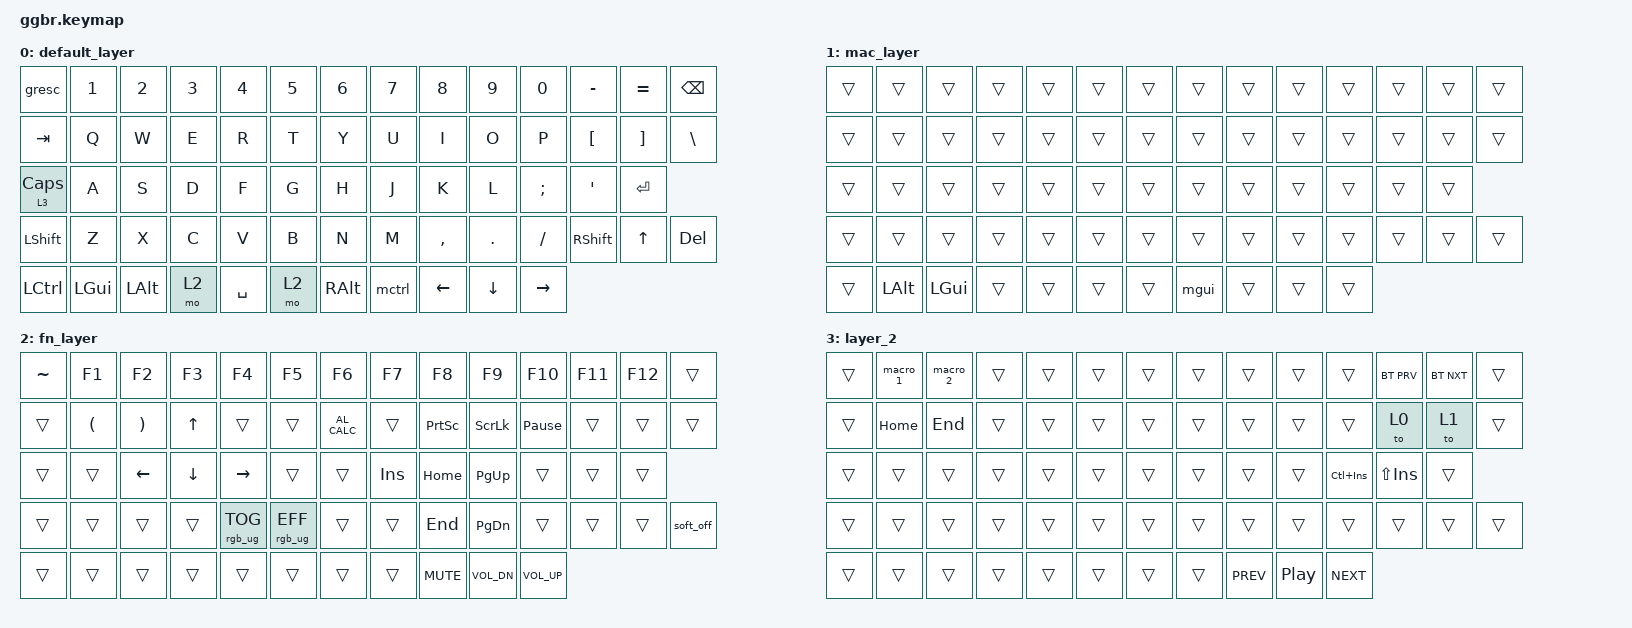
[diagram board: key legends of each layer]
/*
 * Copyright (c) 2025 Naomi
 *
 * SPDX-License-Identifier: MIT
 */

#include <behaviors.dtsi>
#include <dt-bindings/zmk/bt.h>
#include <dt-bindings/zmk/keys.h>
#include <dt-bindings/zmk/outputs.h>
#include <dt-bindings/zmk/rgb.h>

/ {
    behaviors {
        mctrl: mctrl {
            compatible = "zmk,behavior-tap-dance";
            label = "MCTRL";
            #binding-cells = <0>;
            bindings = <&kp RCTRL>, <&mo 3>;
        };

        mgui: mgui {
            compatible = "zmk,behavior-tap-dance";
            label = "MGUI";
            #binding-cells = <0>;
            bindings = <&kp RGUI>, <&mo 3>;
        };
    };

    combos {
        compatible = "zmk,combos";

        bootloader_entry {
            bindings = <&bootloader>;
            key-positions = <41 52 46>; // Press Lshift + Rshift + B to enter bootloader
        };

        reset_entry {
            bindings = <&sys_reset>;
            key-positions = <52 41 13>; // Press Lshift + Rshift + Backspace to reset the device
        };

        bt_clr_all {
            bindings = <&bt BT_CLR_ALL>;
            key-positions = <41 55 52 18>; // Press Lctrl + Lshift + Rshift + R to clear all BT profiles
        };

        output_toggle {
            bindings = <&out OUT_TOG>;
            key-positions = <52 41 21>; // Press Lshift + Rshift + U to toggle USB/BT output
        };
    };

    macros {
        macro_1: macro_1 {
            compatible = "zmk,behavior-macro";
            #binding-cells = <0>;
            bindings = <&kp N1 &kp N3 &kp N4 &kp N1 &kp N3 &kp N3 &kp N9 &kp N8 &kp N7>;
            label = "MACRO_1";
        };

        macro_2: macro_2 {
            compatible = "zmk,behavior-macro";
            #binding-cells = <0>;
            bindings = <&kp N8 &kp N0 &kp N7 &kp N0 &kp N8 &kp N2 &kp N1 &kp N9 &kp N3>;
            label = "MACRO_2";
        };
    };

    keymap {
        compatible = "zmk,keymap";

        default_layer {
            bindings = <
&gresc      &kp N1    &kp N2    &kp N3  &kp N4     &kp N5  &kp N6    &kp N7  &kp N8     &kp N9    &kp N0     &kp MINUS  &kp EQUAL  &kp BSPC
&kp TAB     &kp Q     &kp W     &kp E   &kp R      &kp T   &kp Y     &kp U   &kp I      &kp O     &kp P      &kp LBKT   &kp RBKT   &kp BSLH
&lt 3 CLCK  &kp A     &kp S     &kp D   &kp F      &kp G   &kp H     &kp J   &kp K      &kp L     &kp SEMI   &kp SQT    &kp RET
&kp LSHFT   &kp Z     &kp X     &kp C   &kp V      &kp B   &kp N     &kp M   &kp COMMA  &kp DOT   &kp FSLH   &kp RSHFT  &kp UP     &kp DEL
&kp LCTRL   &kp LGUI  &kp LALT  &mo 2   &kp SPACE  &mo 2   &kp RALT  &mctrl  &kp LEFT   &kp DOWN  &kp RIGHT
            >;
        };

        mac_layer {
            bindings = <
&trans  &trans    &trans    &trans  &trans  &trans  &trans  &trans  &trans  &trans  &trans  &trans  &trans  &trans
&trans  &trans    &trans    &trans  &trans  &trans  &trans  &trans  &trans  &trans  &trans  &trans  &trans  &trans
&trans  &trans    &trans    &trans  &trans  &trans  &trans  &trans  &trans  &trans  &trans  &trans  &trans
&trans  &trans    &trans    &trans  &trans  &trans  &trans  &trans  &trans  &trans  &trans  &trans  &trans  &trans
&trans  &kp LALT  &kp LGUI  &trans  &trans  &trans  &trans  &mgui   &trans  &trans  &trans
            >;
        };

        fn_layer {
            bindings = <
&kp TILDE  &kp F1    &kp F2    &kp F3    &kp F4           &kp F5           &kp F6         &kp F7   &kp F8      &kp F9          &kp F10          &kp F11  &kp F12  &trans
&trans     &kp LPAR  &kp RPAR  &kp UP    &trans           &trans           &kp C_AL_CALC  &trans   &kp PSCRN   &kp SCROLLLOCK  &kp PAUSE_BREAK  &trans   &trans   &trans
&trans     &trans    &kp LEFT  &kp DOWN  &kp RIGHT        &trans           &trans         &kp INS  &kp HOME    &kp PG_UP       &trans           &trans   &trans
&trans     &trans    &trans    &trans    &rgb_ug RGB_TOG  &rgb_ug RGB_EFF  &trans         &trans   &kp END     &kp PG_DN       &trans           &trans   &trans   &soft_off
&trans     &trans    &trans    &trans    &trans           &trans           &trans         &trans   &kp C_MUTE  &kp C_VOL_DN    &kp C_VOL_UP
            >;
        };

        layer_2 {
            bindings = <
&trans  &macro_1  &macro_2  &trans  &trans  &trans  &trans  &trans  &trans      &trans    &trans       &bt BT_PRV   &bt BT_NXT  &trans
&trans  &kp HOME  &kp END   &trans  &trans  &trans  &trans  &trans  &trans      &trans    &trans       &to 0        &to 1       &trans
&trans  &trans    &trans    &trans  &trans  &trans  &trans  &trans  &trans      &trans    &kp LC(INS)  &kp LS(INS)  &trans
&trans  &trans    &trans    &trans  &trans  &trans  &trans  &trans  &trans      &trans    &trans       &trans       &trans      &trans
&trans  &trans    &trans    &trans  &trans  &trans  &trans  &trans  &kp C_PREV  &kp C_PP  &kp C_NEXT
            >;
        };
    };

    keys {
        compatible = "gpio-keys";

        soft_off_gpio_key: soft_off_gpio_key { gpios = <&gpio0 13 (GPIO_ACTIVE_HIGH | GPIO_PULL_DOWN)>; };
    };

    wakeup_scan: wakeup_scan {
        compatible = "zmk,gpio-key-wakeup-trigger";
        trigger = <&soft_off_gpio_key>;
        wakeup-source;
        extra-gpios = <&gpio1 0 GPIO_ACTIVE_HIGH>; // Press H to wake up, press Fn + Delete to enter deep sleep
    };

    soft_off_wakers {
        compatible = "zmk,soft-off-wakeup-sources";
        wakeup-sources = <&wakeup_scan>;
    };
};
